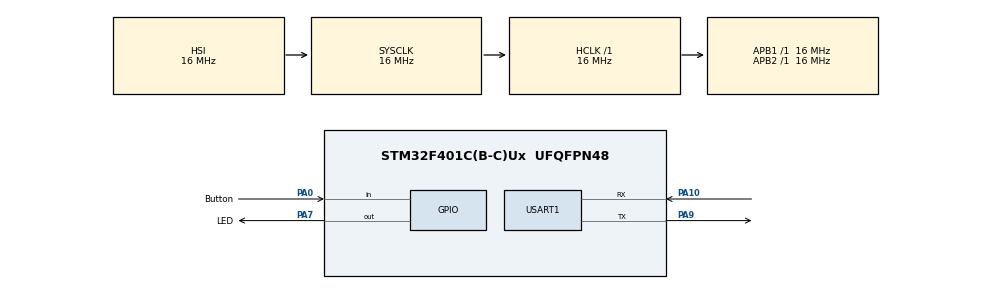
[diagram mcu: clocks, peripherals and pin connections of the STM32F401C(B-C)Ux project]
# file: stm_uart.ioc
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Mcu.Family=STM32F4
Mcu.Name=STM32F401C(B-C)Ux
Mcu.Package=UFQFPN48
NVIC.PriorityGroup=NVIC_PRIORITYGROUP_4
PA0-WKUP.GPIO_Label=Button
PA0-WKUP.GPIO_PuPd=GPIO_PULLUP
PA0-WKUP.Signal=GPIO_Input
PA10.Mode=Asynchronous
PA10.Signal=USART1_RX
PA13.Mode=JTAG_4_pins
PA13.Signal=SYS_JTMS-SWDIO
PA14.Mode=JTAG_4_pins
PA14.Signal=SYS_JTCK-SWCLK
PA15.Mode=JTAG_4_pins
PA15.Signal=SYS_JTDI
PA7.GPIO_Label=LED
PA7.Signal=GPIO_Output
PA9.Mode=Asynchronous
PA9.Signal=USART1_TX
PB3.Mode=JTAG_4_pins
PB3.Signal=SYS_JTDO-SWO
ProjectManager.HeapSize=0x200
ProjectManager.StackSize=0x400
ProjectManager.TargetToolchain=STM32CubeIDE
RCC.AHBFreq_Value=16000000
RCC.APB1Freq_Value=16000000
RCC.APB2Freq_Value=16000000
RCC.CortexFreq_Value=16000000
RCC.HSE_VALUE=25000000
RCC.HSI_VALUE=16000000
RCC.LSE_VALUE=32768
RCC.SYSCLKFreq_VALUE=16000000
RCC.VCOOutputFreq_Value=192000000
USART1.VirtualMode=VM_ASYNC
board=custom

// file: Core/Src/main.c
/* USER CODE BEGIN Header */
/**
  ******************************************************************************
  * @file           : main.c
  * @brief          : Main program body
  ******************************************************************************
  * @attention
  *
  * Copyright (c) 2026 STMicroelectronics.
  * All rights reserved.
  *
  * This software is licensed under terms that can be found in the LICENSE file
  * in the root directory of this software component.
  * If no LICENSE file comes with this software, it is provided AS-IS.
  *
  ******************************************************************************
  */
/* USER CODE END Header */
#include "main.h"

/* USER CODE BEGIN Includes */

#include <stdio.h>
#include <stdint.h>

/* USER CODE END Includes */

UART_HandleTypeDef huart1;

/* USER CODE BEGIN PV */
static uint8_t buttonPressed = 0;
static GPIO_PinState lastButtonState = GPIO_PIN_SET;  // released (pull-up)
static uint32_t lastDebounceMs = 0;
/* USER CODE END PV */

void SystemClock_Config(void);
static void MX_GPIO_Init(void);
static void MX_USART1_UART_Init(void);

int main(void)
{

  /* MCU Configuration--------------------------------------------------------*/

  /* Reset of all peripherals, Initializes the Flash interface and the Systick. */
  HAL_Init();

  /* Configure the system clock */
  SystemClock_Config();

  /* Initialize all configured peripherals */
  MX_GPIO_Init();
  MX_USART1_UART_Init();
  /* USER CODE BEGIN 2 */
  uint8_t rxByte = 0;
  uint8_t ledToggle = 0;
  const uint32_t debounceMs = 100;
  /* USER CODE END 2 */

  /* Infinite loop */
  /* USER CODE BEGIN WHILE */
  while (1)
  {
    // Read button and detect falling edge (not pressed -> pressed)
    GPIO_PinState buttonNow = HAL_GPIO_ReadPin(Button_GPIO_Port, Button_Pin);
    uint32_t nowMs = HAL_GetTick();

    if ((lastButtonState == GPIO_PIN_SET) &&
        (buttonNow == GPIO_PIN_RESET) &&
        ((nowMs - lastDebounceMs) > debounceMs))
      {
        buttonPressed = 1;
        lastDebounceMs = nowMs;
      }
    lastButtonState = buttonNow;

    // Send UART message once per press
    if (buttonPressed)
    {
      const char TX_DATA[] = "1\r\n";
      HAL_StatusTypeDef st = HAL_UART_Transmit(
          &huart1,
          (uint8_t*)TX_DATA,
          sizeof(TX_DATA) - 1,
          100
      );

      if (st == HAL_OK)
      {
        int txBytes = (int)(sizeof(TX_DATA) - 1);
        printf("Sent %d bytes, button=%d\r\n", txBytes, (buttonNow == GPIO_PIN_RESET));
      }

      buttonPressed = 0;
    }

    // Recive data from UART
    if (HAL_UART_Receive(&huart1, &rxByte, 1, 100) == HAL_OK)
    {
      if (rxByte == '1')
      {
        ledToggle ^= 1;
        HAL_GPIO_WritePin(LED_GPIO_Port, LED_Pin, ledToggle ? GPIO_PIN_SET : GPIO_PIN_RESET);
      }

      printf("Read 1 byte: %c\r\n", rxByte);
    }

    HAL_Delay(10);
    /* USER CODE END WHILE */

  }
}

void SystemClock_Config(void)
{
  RCC_OscInitTypeDef RCC_OscInitStruct = {0};
  RCC_ClkInitTypeDef RCC_ClkInitStruct = {0};

  /** Configure the main internal regulator output voltage
  */
  __HAL_RCC_PWR_CLK_ENABLE();
  __HAL_PWR_VOLTAGESCALING_CONFIG(PWR_REGULATOR_VOLTAGE_SCALE2);

  /** Initializes the RCC Oscillators according to the specified parameters
  * in the RCC_OscInitTypeDef structure.
  */
  RCC_OscInitStruct.OscillatorType = RCC_OSCILLATORTYPE_HSI;
  RCC_OscInitStruct.HSIState = RCC_HSI_ON;
  RCC_OscInitStruct.HSICalibrationValue = RCC_HSICALIBRATION_DEFAULT;
  RCC_OscInitStruct.PLL.PLLState = RCC_PLL_NONE;
  if (HAL_RCC_OscConfig(&RCC_OscInitStruct) != HAL_OK)
  {
    Error_Handler();
  }

  /** Initializes the CPU, AHB and APB buses clocks
  */
  RCC_ClkInitStruct.ClockType = RCC_CLOCKTYPE_HCLK|RCC_CLOCKTYPE_SYSCLK
                              |RCC_CLOCKTYPE_PCLK1|RCC_CLOCKTYPE_PCLK2;
  RCC_ClkInitStruct.SYSCLKSource = RCC_SYSCLKSOURCE_HSI;
  RCC_ClkInitStruct.AHBCLKDivider = RCC_SYSCLK_DIV1;
  RCC_ClkInitStruct.APB1CLKDivider = RCC_HCLK_DIV1;
  RCC_ClkInitStruct.APB2CLKDivider = RCC_HCLK_DIV1;

  if (HAL_RCC_ClockConfig(&RCC_ClkInitStruct, FLASH_LATENCY_0) != HAL_OK)
  {
    Error_Handler();
  }
}

static void MX_USART1_UART_Init(void)
{

  huart1.Instance = USART1;
  huart1.Init.BaudRate = 115200;
  huart1.Init.WordLength = UART_WORDLENGTH_8B;
  huart1.Init.StopBits = UART_STOPBITS_1;
  huart1.Init.Parity = UART_PARITY_NONE;
  huart1.Init.Mode = UART_MODE_TX_RX;
  huart1.Init.HwFlowCtl = UART_HWCONTROL_NONE;
  huart1.Init.OverSampling = UART_OVERSAMPLING_16;
  if (HAL_UART_Init(&huart1) != HAL_OK)
  {
    Error_Handler();
  }

}

static void MX_GPIO_Init(void)
{
  GPIO_InitTypeDef GPIO_InitStruct = {0};

  /* GPIO Ports Clock Enable */
  __HAL_RCC_GPIOA_CLK_ENABLE();
  __HAL_RCC_GPIOB_CLK_ENABLE();

  /*Configure GPIO pin Output Level */
  HAL_GPIO_WritePin(LED_GPIO_Port, LED_Pin, GPIO_PIN_RESET);

  /*Configure GPIO pin : Button_Pin */
  GPIO_InitStruct.Pin = Button_Pin;
  GPIO_InitStruct.Mode = GPIO_MODE_INPUT;
  GPIO_InitStruct.Pull = GPIO_PULLUP;
  HAL_GPIO_Init(Button_GPIO_Port, &GPIO_InitStruct);

  /*Configure GPIO pin : LED_Pin */
  GPIO_InitStruct.Pin = LED_Pin;
  GPIO_InitStruct.Mode = GPIO_MODE_OUTPUT_PP;
  GPIO_InitStruct.Pull = GPIO_NOPULL;
  GPIO_InitStruct.Speed = GPIO_SPEED_FREQ_LOW;
  HAL_GPIO_Init(LED_GPIO_Port, &GPIO_InitStruct);

}

void Error_Handler(void)
{
  __disable_irq();
  while (1)
  {
  }
}
